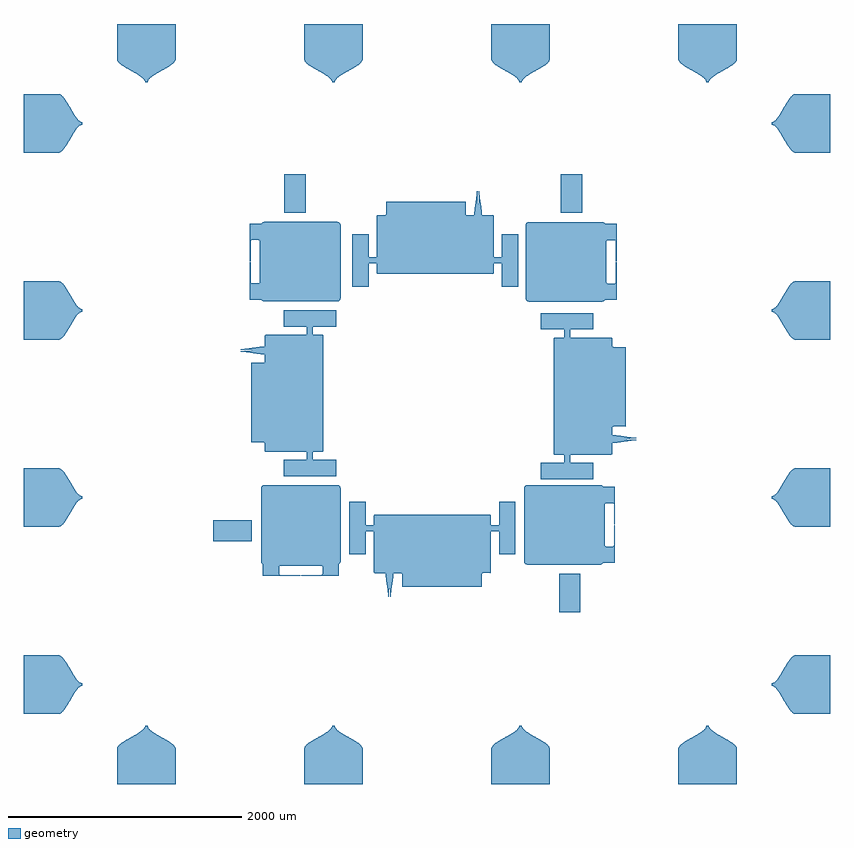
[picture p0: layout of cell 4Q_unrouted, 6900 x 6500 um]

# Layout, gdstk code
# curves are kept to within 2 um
import gdstk
lib = gdstk.Library(unit=1e-6, precision=1e-09)
def R(c, l, rs):  # rectangles x0, y0, x1, y1
    for r in rs: c.add(gdstk.rectangle(r[:2], r[2:], *l))
def P(c, l, *ps):  # polygons
    for p in ps: c.add(gdstk.Polygon(p, *l))
geometry = (1, 0)

c_4q_unrouted = lib.new_cell('4Q_unrouted')
R(c_4q_unrouted, geometry, [(4981.21,-209.86,5163.21,120.14), (2022.21,399.14,2352.21,581.14), (4995.28,3209.22,5177.28,3539.22), (2631.21,3210.14,2813.21,3540.14)])
P(c_4q_unrouted, geometry, [(2460.736,2450.14),(2442.039,2457.885),(2435.058,2467.298),(2432.211,2478.656),(2432.211,2466.14),(2336.21,2466.14),(2336.21,2785.14),(2342.21,2785.14),(2343.159,2609.859),(2351.719,2604.14),(2412.701,2604.14),(2418.934,2606.722),(2422.21,2613.649),(2422.114,2967.609),(2418.934,2973.558),(2412.701,2976.14),(2351.719,2976.14),(2343.159,2970.421),(2342.21,2795.14),(2336.21,2795.14),(2336.21,3114.14),(2432.211,3114.14),(2432.211,3101.624),(2435.058,3112.982),(2442.039,3122.395),(2460.736,3130.14),(3083.684,3130.14),(3102.381,3122.395),(3109.362,3112.982),(3112.21,3101.614),(3112.21,2478.666),(3104.465,2459.969),(3095.052,2452.988),(3083.684,2450.14)],
  [(2448.21,104.14),(2448.21,200.141),(2460.726,200.141),(2449.368,202.988),(2439.955,209.969),(2432.21,228.666),(2432.21,851.614),(2439.955,870.311),(2449.368,877.292),(2460.736,880.14),(3083.684,880.14),(3102.381,872.395),(3109.362,862.982),(3112.21,851.614),(3112.21,228.666),(3104.465,209.969),(3095.052,202.988),(3083.694,200.141),(3096.21,200.141),(3096.21,104.14),(2777.21,104.14),(2777.21,110.14),(2952.491,111.089),(2958.21,119.649),(2958.21,180.631),(2955.628,186.864),(2948.701,190.14),(2594.741,190.044),(2588.792,186.864),(2586.21,180.631),(2586.21,119.649),(2591.929,111.089),(2767.21,110.14),(2767.21,104.14)],
  [(2624.73,954.39),(2624.73,1094.39),(2824.73,1094.39),(2824.73,1164.39),(2473.261,1164.486),(2464.826,1172.921),(2464.73,1234.881),(2459.877,1242.978),(2348.73,1244.39),(2348.73,1924.39),(2460.694,1926.348),(2464.73,1933.899),(2464.73,2006.39),(2460.73,2006.39),(2460.73,1999.39),(2434.923,2000.349),(2305.891,2017.662),(2260.73,2020.39),(2260.73,2026.39),(2434.73,2029.252),(2434.73,2033.528),(2260.73,2036.39),(2260.73,2042.39),(2305.891,2045.118),(2434.923,2062.431),(2460.73,2063.39),(2460.73,2056.39),(2464.73,2056.39),(2464.73,2154.881),(2472.297,2164.102),(2824.73,2164.39),(2824.73,2234.39),(2624.73,2234.39),(2624.73,2374.39),(3074.73,2374.39),(3074.73,2234.39),(2874.73,2234.39),(2874.73,2164.39),(2956.199,2164.294),(2962.148,2161.114),(2964.73,2154.881),(2964.73,1173.899),(2962.148,1167.666),(2956.199,1164.486),(2874.73,1164.39),(2874.73,1094.39),(3074.73,1094.39),(3074.73,954.39)],
  [(4710.736,200.14),(4692.039,207.885),(4685.058,217.298),(4682.21,228.666),(4682.21,851.614),(4685.058,862.982),(4692.039,872.395),(4710.736,880.14),(5333.684,880.14),(5352.381,872.395),(5359.362,862.982),(5362.209,851.624),(5362.209,864.14),(5458.21,864.14),(5458.21,545.14),(5452.21,545.14),(5451.261,720.421),(5442.701,726.14),(5381.719,726.14),(5375.486,723.558),(5372.21,716.631),(5372.306,362.671),(5375.486,356.722),(5381.719,354.14),(5442.701,354.14),(5451.261,359.859),(5452.21,535.14),(5458.21,535.14),(5458.21,216.14),(5362.209,216.14),(5362.209,228.656),(5359.362,217.298),(5352.381,207.885),(5333.684,200.14)],
  [(3211.53,2577.07),(3211.53,3027.07),(3351.53,3027.07),(3351.53,2827.07),(3421.53,2827.07),(3421.626,3178.539),(3430.061,3186.974),(3492.021,3187.07),(3500.118,3191.923),(3501.53,3303.07),(4181.53,3303.07),(4183.488,3191.106),(4191.039,3187.07),(4263.53,3187.07),(4263.53,3191.07),(4256.53,3191.07),(4257.489,3216.877),(4274.802,3345.909),(4277.53,3391.07),(4283.53,3391.07),(4286.392,3217.07),(4290.668,3217.07),(4293.53,3391.07),(4299.53,3391.07),(4302.258,3345.909),(4319.571,3216.877),(4320.53,3191.07),(4313.53,3191.07),(4313.53,3187.07),(4412.021,3187.07),(4421.242,3179.503),(4421.53,2827.07),(4491.53,2827.07),(4491.53,3027.07),(4631.53,3027.07),(4631.53,2577.07),(4491.53,2577.07),(4491.53,2777.07),(4421.53,2777.07),(4421.434,2695.601),(4418.254,2689.652),(4412.021,2687.07),(3431.039,2687.07),(3424.806,2689.652),(3421.626,2695.601),(3421.53,2777.07),(3351.53,2777.07),(3351.53,2577.07)],
  [(4825.24,930.7),(4825.24,1070.7),(5025.24,1070.7),(5025.24,1140.7),(4943.771,1140.796),(4937.822,1143.976),(4935.24,1150.209),(4935.24,2131.191),(4937.822,2137.424),(4943.771,2140.604),(5025.24,2140.7),(5025.24,2210.7),(4825.24,2210.7),(4825.24,2350.7),(5275.24,2350.7),(5275.24,2210.7),(5075.24,2210.7),(5075.24,2140.7),(5426.709,2140.604),(5435.144,2132.169),(5435.24,2070.209),(5440.093,2062.112),(5551.24,2060.7),(5551.24,1380.7),(5439.276,1378.742),(5435.24,1371.191),(5435.24,1298.7),(5439.24,1298.7),(5439.24,1305.7),(5465.047,1304.741),(5594.079,1287.428),(5639.24,1284.7),(5639.24,1278.7),(5465.24,1275.838),(5465.24,1271.562),(5639.24,1268.7),(5639.24,1262.7),(5594.079,1259.972),(5465.047,1242.659),(5439.24,1241.7),(5439.24,1248.7),(5435.24,1248.7),(5435.24,1150.209),(5427.673,1140.988),(5075.24,1140.7),(5075.24,1070.7),(5275.24,1070.7),(5275.24,930.7)],
  [(3519.83,-77.02),(3517.102,-31.859),(3499.789,97.173),(3498.83,122.98),(3505.83,122.98),(3505.83,126.98),(3407.339,126.98),(3398.118,134.547),(3397.83,486.98),(3327.83,486.98),(3327.83,286.98),(3187.83,286.98),(3187.83,736.98),(3327.83,736.98),(3327.83,536.98),(3397.83,536.98),(3397.926,618.449),(3401.106,624.398),(3407.339,626.98),(4388.321,626.98),(4394.554,624.398),(4397.734,618.449),(4397.83,536.98),(4467.83,536.98),(4467.83,736.98),(4607.83,736.98),(4607.83,286.98),(4467.83,286.98),(4467.83,486.98),(4397.83,486.98),(4397.734,135.511),(4389.299,127.076),(4327.339,126.98),(4319.242,122.127),(4317.83,10.98),(3637.83,10.98),(3635.872,122.944),(3628.321,126.98),(3555.83,126.98),(3555.83,122.98),(3562.83,122.98),(3561.871,97.173),(3544.558,-31.859),(3541.83,-77.02),(3535.83,-77.02),(3532.968,96.98),(3528.692,96.98),(3525.83,-77.02)],
  [(1440.54,4323.29),(1434.258,4342.645),(1409.485,4368.451),(1371.618,4394.258),(1250.277,4465.225),(1218.187,4491.032),(1204.396,4510.387),(1201.54,4523.29),(1201.54,4823.29),(1701.54,4823.29),(1701.54,4523.29),(1698.684,4510.387),(1684.893,4491.032),(1652.803,4465.225),(1531.462,4394.258),(1493.595,4368.451),(1468.822,4342.645),(1462.54,4323.29)],
  [(1201.54,-1676.71),(1201.54,-1376.71),(1204.396,-1363.807),(1218.187,-1344.452),(1250.277,-1318.645),(1371.618,-1247.678),(1409.485,-1221.871),(1434.258,-1196.065),(1440.54,-1176.71),(1462.54,-1176.71),(1468.822,-1196.065),(1493.595,-1221.871),(1531.462,-1247.678),(1652.803,-1318.645),(1678.146,-1338),(1695.258,-1357.355),(1701.54,-1376.71),(1701.54,-1676.71)],
  [(3040.54,4323.29),(3034.258,4342.645),(3009.485,4368.451),(2971.618,4394.258),(2850.277,4465.225),(2818.187,4491.032),(2804.396,4510.387),(2801.54,4523.29),(2801.54,4823.29),(3301.54,4823.29),(3301.54,4523.29),(3298.684,4510.387),(3284.893,4491.032),(3252.803,4465.225),(3131.462,4394.258),(3093.595,4368.451),(3068.822,4342.645),(3062.54,4323.29)],
  [(2801.54,-1676.71),(2801.54,-1376.71),(2804.396,-1363.807),(2818.187,-1344.452),(2850.277,-1318.645),(2971.618,-1247.678),(3009.485,-1221.871),(3034.258,-1196.065),(3040.54,-1176.71),(3062.54,-1176.71),(3068.822,-1196.065),(3093.595,-1221.871),(3131.462,-1247.678),(3252.803,-1318.645),(3278.146,-1338),(3295.258,-1357.355),(3301.54,-1376.71),(3301.54,-1676.71)],
  [(4640.54,4323.29),(4634.258,4342.645),(4609.485,4368.451),(4571.618,4394.258),(4450.277,4465.225),(4418.187,4491.032),(4404.396,4510.387),(4401.54,4523.29),(4401.54,4823.29),(4901.54,4823.29),(4901.54,4523.29),(4898.684,4510.387),(4884.893,4491.032),(4852.803,4465.225),(4731.462,4394.258),(4693.595,4368.451),(4668.822,4342.645),(4662.54,4323.29)],
  [(4401.54,-1676.71),(4401.54,-1376.71),(4404.396,-1363.807),(4418.187,-1344.452),(4450.277,-1318.645),(4571.618,-1247.678),(4609.485,-1221.871),(4634.258,-1196.065),(4640.54,-1176.71),(4662.54,-1176.71),(4668.822,-1196.065),(4693.595,-1221.871),(4731.462,-1247.678),(4852.803,-1318.645),(4878.146,-1338),(4895.258,-1357.355),(4901.54,-1376.71),(4901.54,-1676.71)],
  [(6240.54,4323.29),(6234.258,4342.645),(6209.485,4368.451),(6171.618,4394.258),(6050.277,4465.225),(6018.187,4491.032),(6004.396,4510.387),(6001.54,4523.29),(6001.54,4823.29),(6501.54,4823.29),(6501.54,4523.29),(6498.684,4510.387),(6484.893,4491.032),(6452.803,4465.225),(6331.462,4394.258),(6293.595,4368.451),(6268.822,4342.645),(6262.54,4323.29)],
  [(6001.54,-1676.71),(6001.54,-1376.71),(6004.396,-1363.807),(6018.187,-1344.452),(6050.277,-1318.645),(6171.618,-1247.678),(6209.485,-1221.871),(6234.258,-1196.065),(6240.54,-1176.71),(6262.54,-1176.71),(6268.822,-1196.065),(6293.595,-1221.871),(6331.462,-1247.678),(6452.803,-1318.645),(6478.146,-1338),(6495.258,-1357.355),(6501.54,-1376.71),(6501.54,-1676.71)],
  [(401.54,3723.29),(401.54,4223.29),(701.54,4223.29),(720.895,4217.008),(740.25,4199.896),(759.605,4174.553),(830.572,4053.212),(856.379,4015.345),(882.185,3990.572),(901.54,3984.29),(901.54,3962.29),(882.185,3956.008),(856.379,3931.235),(830.572,3893.368),(759.605,3772.027),(733.798,3739.937),(714.443,3726.146),(701.54,3723.29)],
  [(7001.54,3723.29),(6982.185,3729.572),(6956.379,3754.345),(6930.572,3792.212),(6853.153,3922.755),(6827.346,3951.379),(6814.443,3959.434),(6801.54,3962.29),(6801.54,3984.29),(6820.895,3990.572),(6846.701,4015.345),(6872.508,4053.212),(6943.475,4174.553),(6969.282,4206.643),(6988.637,4220.434),(7001.54,4223.29),(7301.54,4223.29),(7301.54,3723.29)],
  [(401.54,2123.29),(401.54,2623.29),(701.54,2623.29),(720.895,2617.008),(740.25,2599.896),(759.605,2574.553),(830.572,2453.212),(856.379,2415.345),(882.185,2390.572),(901.54,2384.29),(901.54,2362.29),(882.185,2356.008),(856.379,2331.235),(830.572,2293.368),(759.605,2172.027),(733.798,2139.937),(714.443,2126.146),(701.54,2123.29)],
  [(7001.54,2123.29),(6982.185,2129.572),(6956.379,2154.345),(6930.572,2192.212),(6853.153,2322.755),(6827.346,2351.379),(6814.443,2359.434),(6801.54,2362.29),(6801.54,2384.29),(6820.895,2390.572),(6846.701,2415.345),(6872.508,2453.212),(6943.475,2574.553),(6969.282,2606.643),(6988.637,2620.434),(7001.54,2623.29),(7301.54,2623.29),(7301.54,2123.29)],
  [(401.54,523.29),(401.54,1023.29),(701.54,1023.29),(720.895,1017.008),(740.25,999.896),(759.605,974.553),(830.572,853.212),(856.379,815.345),(882.185,790.572),(901.54,784.29),(901.54,762.29),(882.185,756.008),(856.379,731.235),(830.572,693.368),(759.605,572.027),(733.798,539.937),(714.443,526.146),(701.54,523.29)],
  [(7001.54,523.29),(6982.185,529.572),(6956.379,554.345),(6930.572,592.212),(6853.153,722.755),(6827.346,751.379),(6814.443,759.434),(6801.54,762.29),(6801.54,784.29),(6820.895,790.572),(6846.701,815.345),(6872.508,853.212),(6943.475,974.553),(6969.282,1006.643),(6988.637,1020.434),(7001.54,1023.29),(7301.54,1023.29),(7301.54,523.29)],
  [(401.54,-1076.71),(401.54,-576.71),(701.54,-576.71),(720.895,-582.992),(740.25,-600.104),(759.605,-625.447),(830.572,-746.788),(856.379,-784.655),(882.185,-809.428),(901.54,-815.71),(901.54,-837.71),(882.185,-843.992),(856.379,-868.765),(830.572,-906.632),(759.605,-1027.973),(733.798,-1060.063),(714.443,-1073.854),(701.54,-1076.71)],
  [(7001.54,-1076.71),(6982.185,-1070.428),(6956.379,-1045.655),(6930.572,-1007.788),(6853.153,-877.245),(6827.346,-848.621),(6814.443,-840.566),(6801.54,-837.71),(6801.54,-815.71),(6820.895,-809.428),(6846.701,-784.655),(6872.508,-746.788),(6943.475,-625.447),(6969.282,-593.357),(6988.637,-579.566),(7001.54,-576.71),(7301.54,-576.71),(7301.54,-1076.71)],
  [(4724.806,2449.22),(4706.109,2456.965),(4699.128,2466.378),(4696.28,2477.746),(4696.28,3100.694),(4699.128,3112.062),(4706.109,3121.475),(4724.806,3129.22),(5347.754,3129.22),(5366.451,3121.475),(5373.432,3112.062),(5376.279,3100.704),(5376.279,3113.22),(5472.28,3113.22),(5472.28,2794.22),(5466.28,2794.22),(5465.331,2969.501),(5456.771,2975.22),(5395.789,2975.22),(5389.556,2972.638),(5386.28,2965.711),(5386.376,2611.751),(5389.556,2605.802),(5395.789,2603.22),(5456.771,2603.22),(5465.331,2608.939),(5466.28,2784.22),(5472.28,2784.22),(5472.28,2465.22),(5376.279,2465.22),(5376.279,2477.736),(5373.432,2466.378),(5366.451,2456.965),(5347.754,2449.22)])
c_4q_unrouted.add(gdstk.Label('1/0 geometry', (401.54,-1974.79), layer=1, texttype=0))

lib.write_gds('4Q_unrouted.gds')
